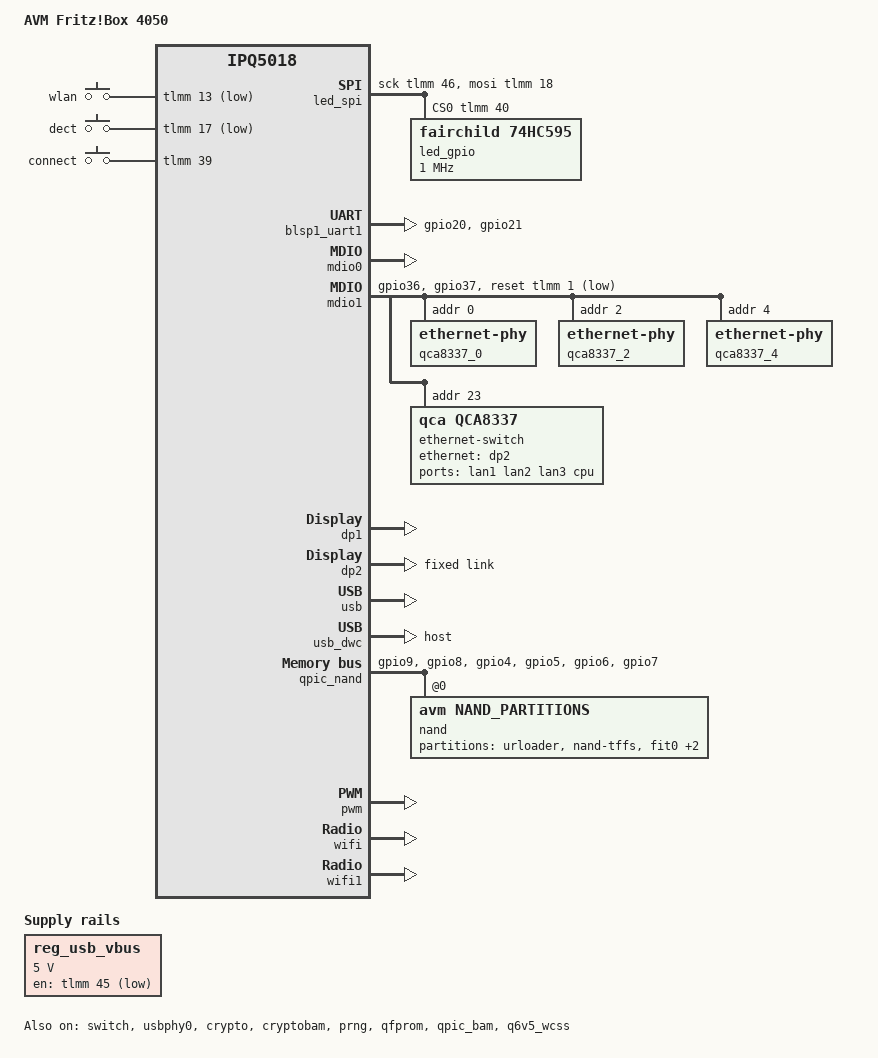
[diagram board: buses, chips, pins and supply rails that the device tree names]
/dts-v1/;

#include "ipq5018.dtsi"
#include "ipq5018-ess.dtsi"
#include "ipq5018-qcn6122.dtsi"

#include <dt-bindings/gpio/gpio.h>
#include <dt-bindings/input/input.h>
#include <dt-bindings/leds/common.h>

/ {
	model = "AVM Fritz!Box 4050";
	compatible = "avm,fritzbox-4050", "qcom,ipq5018";

	aliases {
		led-boot = &power_green;
		led-failsafe = &info_red;
		led-running = &power_green;
		led-upgrade = &info_red;
		serial0 = &blsp1_uart1;
	};

	chosen {
		bootargs = "ubi.mtd=ubi root=/dev/ubiblock0_0";
		stdout-path = "serial0:115200n8";
	};

	keys {
		compatible = "gpio-keys";
		pinctrl-0 = <&button_pins>;
		pinctrl-names = "default";

		wlan {
			label = "wlan";
			gpios = <&tlmm 13 GPIO_ACTIVE_LOW>;
			linux,code = <KEY_RFKILL>;
		};

		dect {
			label = "dect";
			gpios = <&tlmm 17 GPIO_ACTIVE_LOW>;
			linux,code = <KEY_PHONE>;
		};

		wps {
			label = "connect";
			gpios = <&tlmm 39 GPIO_ACTIVE_HIGH>;
			linux,code = <KEY_WPS_BUTTON>;
		};
	};

	reg_usb_vbus: regulator-usb-vbus {
		compatible = "regulator-fixed";
		regulator-name = "usb_vbus";
		regulator-min-microvolt = <5000000>;
		regulator-max-microvolt = <5000000>;
		gpios = <&tlmm 45 GPIO_ACTIVE_HIGH>;
		regulator-boot-on;
	};

	led_spi {
		compatible = "spi-gpio";
		#address-cells = <1>;
		#size-cells = <0>;

		sck-gpios = <&tlmm 46 GPIO_ACTIVE_HIGH>;
		mosi-gpios = <&tlmm 18 GPIO_ACTIVE_HIGH>;
		cs-gpios = <&tlmm 40 GPIO_ACTIVE_HIGH>;
		num-chipselects = <1>;

		led_gpio: led_gpio@0 {
			compatible = "fairchild,74hc595";
			reg = <0>;
			gpio-controller;
			#gpio-cells = <2>;
			registers-number = <1>;
			spi-max-frequency = <1000000>;
		};
	};

	leds {
		status = "disabled";
		compatible = "gpio-leds";

		info_red: info_red {
			label = "red:info";
			gpios = <&led_gpio 0 GPIO_ACTIVE_LOW>;
		};

		info {
			label = "green:info";
			gpios = <&led_gpio 1 GPIO_ACTIVE_LOW>;
		};

		wps {
			function = LED_FUNCTION_WPS;
			color = <LED_COLOR_ID_GREEN>;
			gpios = <&led_gpio 2 GPIO_ACTIVE_LOW>;
		};

		fon {
			label = "green:fon";
			gpios = <&led_gpio 3 GPIO_ACTIVE_LOW>;
		};

		wlan {
			function = LED_FUNCTION_WLAN;
			color = <LED_COLOR_ID_GREEN>;
			gpios = <&led_gpio 4 GPIO_ACTIVE_LOW>;
		};

		power_green: power {
			function = LED_FUNCTION_POWER;
			color = <LED_COLOR_ID_GREEN>;
			gpios = <&led_gpio 5 GPIO_ACTIVE_LOW>;
		};
	};
	
};

&blsp1_uart1 {
	pinctrl-0 = <&serial_0_pins>;
	pinctrl-names = "default";
	status = "okay";
};

&mdio0 {
	status = "okay";
};

&mdio1 {
	status = "okay";

	pinctrl-0 = <&mdio1_pins>;
	pinctrl-names = "default";
	reset-gpios = <&tlmm 1 GPIO_ACTIVE_LOW>;

	qca8337_0: ethernet-phy@0 {
		reg = <0>;
	};

	qca8337_2: ethernet-phy@2 {
		reg = <2>;
	};

	qca8337_4: ethernet-phy@4 {
		reg = <4>;
	};

	ethernet-switch@17 {
		compatible = "qca,qca8337";
		reg = <0x17>;
		#address-cells = <1>;
		#size-cells = <0>;
		mdio = <&mdio1>;

		ports {
			#address-cells = <1>;
			#size-cells = <0>;

			port@1 {
				reg = <1>;
				label = "lan1";
				phy-handle = <&qca8337_0>;
			};

			port@3 {
				reg = <3>;
				label = "lan2";
				phy-handle = <&qca8337_2>;
			};

			port@5 {
				reg = <5>;
				label = "lan3";
				phy-handle = <&qca8337_4>;
			};

			port@6 {
				reg = <6>;
				label = "cpu";
				phy-mode = "sgmii";
				ethernet = <&dp2>;
				qca,sgmii-enable-pll;

				fixed-link {
					speed = <1000>;
					full-duplex;
				};
			};
		};
	};
};

&dp1 {
	status = "okay";

	label = "wan";
};

&dp2 {
	status = "okay";

	fixed-link {
		speed = <1000>;
		full-duplex;
	};
};

&switch {
	status = "okay";

	switch_mac_mode = <MAC_MODE_SGMII_CHANNEL0>;

	qcom,port_phyinfo {

		port@0 {
			port_id = <1>;
			mdiobus = <&mdio0>;
			phy_address = <7>;
		};

		port@1 {
			port_id = <2>;
			mdiobus = <&mdio1>;
			forced-speed = <1000>;
			forced-duplex = <1>;
		};
	};
};

&tlmm {
	button_pins: button-pins {
		pins = "gpio13", "gpio17", "gpio39";
		function = "gpio";
		drive-strength = <8>;
		bias-pull-up;
	};

	mdio1_pins: mdio-state {
		mdc-pins {
			pins = "gpio36";
			function = "mdc";
			drive-strength = <8>;
			bias-pull-up;
		};

		mdio-pins {
			pins = "gpio37";
			function = "mdio";
			drive-strength = <8>;
			bias-pull-up;
		};
	};

	qpic_pins: qpic-state {
		clock-pins {
			pins = "gpio9";
			function = "qspi_clk";
			drive-strength = <8>;
			bias-disable;
		};

		cs-pins {
			pins = "gpio8";
			function = "qspi_cs";
			drive-strength = <8>;
			bias-disable;
		};

		data-pins {
			pins = "gpio4", "gpio5", "gpio6", "gpio7";
			function = "qspi_data";
			drive-strength = <8>;
			bias-disable;
		};
	};

	serial_0_pins: uart0-state {
		pins = "gpio20", "gpio21";
		function = "blsp0_uart0";
		drive-strength = <8>;
		bias-disable;
	};
/*
	spi_gpio_pins: spi-gpio-pins {
		pins = "gpio18", "gpio40", "gpio48";
		function = "gpio";
		drive-strength = <2>;
		bias-pull-up;
	};
*/
/*
	usp_pwr_en_pinmux {
		pins = "gpio45";
		drive-strength = <8>;
		bias-disable;
	};
*/
};

&usb {
	status = "okay";
};

&usbphy0 {
	status = "okay";
	vdd-supply = <&reg_usb_vbus>;
};

&usb_dwc {
	dr_mode = "host";
};

&sleep_clk {
	clock-frequency = <32000>;
};

&xo_board_clk {
	clock-div = <4>;
	clock-mult = <1>;
};

&qpic_nand {
	pinctrl-0 = <&qpic_pins>;
	pinctrl-names = "default";
	status = "okay";

	nand@0 {
		compatible = "avm,nand_partitions","spi-nand";
		reg = <0>;
		nand-ecc-engine = <&qpic_nand>;
		nand-ecc-strength = <4>;
		nand-ecc-step-size = <512>;
		nand-bus-width = <8>;

		partitions {
			compatible = "fixed-partitions";
			#address-cells = <1>;
			#size-cells = <1>;

			partition@0 {
				label = "urloader";
				reg = <0x00000000 0x540000>;
				read-only;
			};

			partition@1 {
				label = "nand-tffs";
				reg = <0x540000 0x800000>;
				read-only;
			};

			partition@2 {
				label = "fit0";
				reg = <0xd40000 0x800000>;
			};

			partition@3 {
				label = "fit1";
				reg = <0x1540000 0x800000>;
			};

			partition@4 {
				label = "ubi";
				reg = <0x1d40000 0x62c0000>;
			};
		};
	};
};

&crypto {
	status = "okay";
};

&cryptobam {
	status = "okay";
};

&prng {
	status = "okay";
};

&qfprom {
	status = "okay";
};

&qpic_bam {
	status = "okay";
};

&pwm {
	status = "okay";
};

&q6v5_wcss {
	status = "okay";

	/* The QCN6102 radio should map to UPD ID 2. Without       */
	/* bootargs, the firmware will expect it to be on UPD ID 3 */
	boot-args = <
		/*       type:	*/	0x1	/* PCIE0	*/
		/*     length:	*/	4
		/*     UPD ID:	*/	2
		/* reset GPIO:	*/	15
		/*   reserved:	*/	0 0>;
};

&wifi {
	// IPQ5018
	status = "okay";

	qcom,rproc = <&q6_wcss_pd1>;
//	qcom,ath11k-calibration-variant = "CMCC-MR3000D-CI";
	qcom,ath11k-fw-memory-mode = <1>;
	qcom,bdf-addr = <0x4c400000>;
};

&wifi1 {
	// QCN6102 5G
	status = "okay";

	qcom,rproc = <&q6_wcss_pd2>;
	qcom,userpd-subsys-name = "q6v5_wcss_userpd2";
//	qcom,ath11k-calibration-variant = "CMCC-MR3000D-CI";
	qcom,ath11k-fw-memory-mode = <1>;
	qcom,bdf-addr = <0x4d100000>;
	qcom,m3-dump-addr = <0x4df00000>;
};
